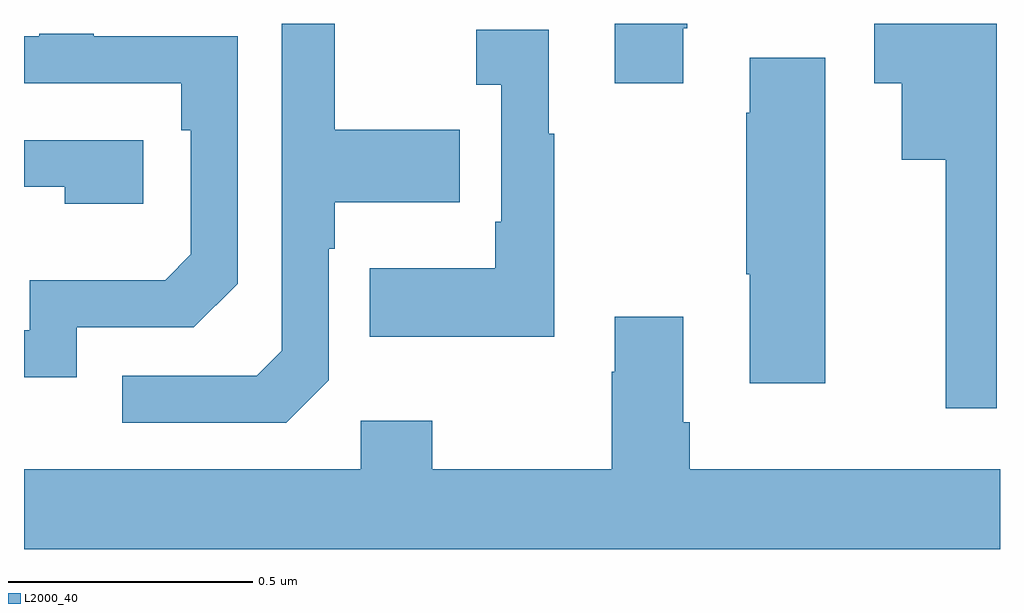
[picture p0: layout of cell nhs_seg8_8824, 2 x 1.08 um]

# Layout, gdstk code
import gdstk
lib = gdstk.Library(unit=1e-6, precision=1e-09)
def P(c, l, *ps):  # polygons
    for p in ps: c.add(gdstk.Polygon(p, *l))
L2000_40 = (2000, 40)

nhs_seg8_8824 = lib.new_cell('nhs_seg8_8824')
P(nhs_seg8_8824, L2000_40, [(229.351,1126.891),(229.359,1126.891),(229.359,1126.9),(229.211,1126.9),(229.211,1126.779),(229.351,1126.779)],
  [(228.624,1126.17),(228.624,1126.439),(228.637,1126.439),(228.637,1126.535),(228.893,1126.535),(228.893,1126.683),(228.637,1126.683),(228.637,1126.9),(228.528,1126.9),(228.528,1126.23),(228.477,1126.179),(228.201,1126.179),(228.201,1126.083),(228.537,1126.083)],
  [(229.993,1126.9),(229.742,1126.9),(229.742,1126.778),(229.799,1126.778),(229.799,1126.622),(229.889,1126.622),(229.889,1126.113),(229.993,1126.113)],
  [(229.087,1126.675),(229.075,1126.675),(229.075,1126.888),(228.927,1126.888),(228.927,1126.775),(228.978,1126.775),(228.978,1126.495),(228.966,1126.495),(228.966,1126.399),(228.709,1126.399),(228.709,1126.259),(229.087,1126.259)],
  [(228.108,1126.278),(228.348,1126.278),(228.438,1126.368),(228.438,1126.875),(228.143,1126.875),(228.143,1126.88),(228.031,1126.88),(228.031,1126.875),(228,1126.875),(228,1126.779),(228.322,1126.779),(228.322,1126.682),(228.342,1126.682),(228.342,1126.428),(228.289,1126.375),(228.012,1126.375),(228.012,1126.272),(228,1126.272),(228,1126.176),(228.108,1126.176)],
  [(229.642,1126.831),(229.487,1126.831),(229.487,1126.718),(229.48,1126.718),(229.48,1126.387),(229.487,1126.387),(229.487,1126.164),(229.642,1126.164)],
  [(228.244,1126.662),(228,1126.662),(228,1126.566),(228.083,1126.566),(228.083,1126.532),(228.244,1126.532)],
  [(230,1125.988),(229.364,1125.988),(229.364,1126.084),(229.351,1126.084),(229.351,1126.3),(229.211,1126.3),(229.211,1126.187),(229.204,1126.187),(229.204,1125.988),(228.837,1125.988),(228.837,1126.087),(228.69,1126.087),(228.69,1125.988),(228,1125.988),(228,1125.824),(230,1125.824)])

lib.write_gds('nhs_seg8_8824.gds')
